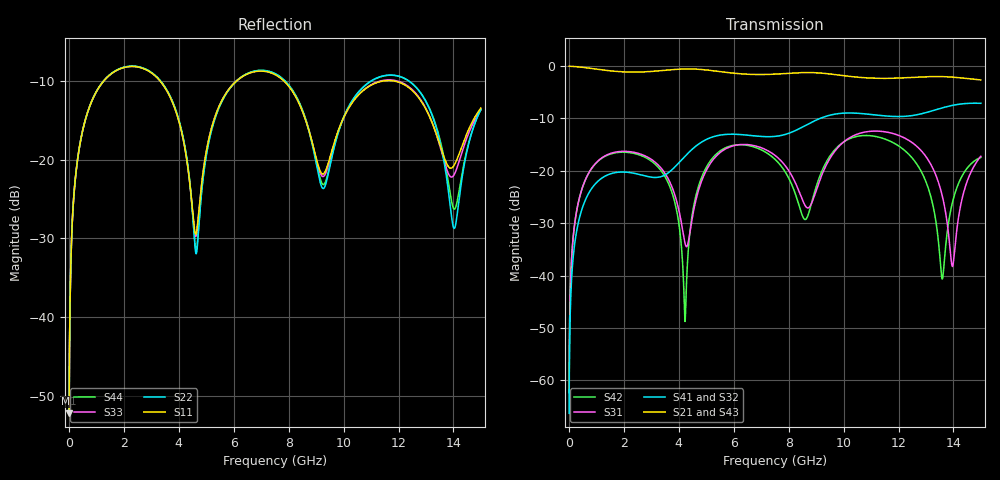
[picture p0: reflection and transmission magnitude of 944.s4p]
! Created with skrf 1.8.0 (http://scikit-rf.org).
# GHz S RI R 50.0
!freq ReS11 ImS11 ReS12 ImS12 ReS13 ImS13
! ReS14 ImS14
! ReS21 ImS21 ReS22 ImS22 ReS23 ImS23
! ReS24 ImS24
! ReS31 ImS31 ReS32 ImS32 ReS33 ImS33
! ReS34 ImS34
! ReS41 ImS41 ReS42 ImS42 ReS43 ImS43
! ReS44 ImS44
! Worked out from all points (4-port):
!   2499 points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, 5 MHz to 15 GHz, reference 50 ohm
!   strongest paths, dB at 5 MHz, 3.476 GHz, 7.19 GHz, 11.1 GHz, 15 GHz:
!     S21: 0.0, -0.8, -1.6, -2.3, -2.6
!     S43: 0.0, -0.8, -1.6, -2.3, -2.6
!     S41: -66.3, -20.8, -13.5, -9.3, -7.1
!     S32: -66.3, -20.9, -13.5, -9.3, -7.1
!     S31: -62.4, -20.3, -16.0, -12.4, -17.2
!     S42: -62.4, -20.9, -16.5, -13.4, -17.4
!   lowest |S11| = -52.3 dB at 5 MHz (marker M1), VSWR 1.00, Z = 50.2 + j0.148 ohm
!   |S11| at or under -10 dB: 3.331 GHz to 6.086 GHz (2.755 GHz wide, 58.5 % of centre); 7.841 GHz to 11.37 GHz (3.528 GHz wide, 36.7 % of centre); 11.91 GHz to end of sweep (the widest 3 of 4)
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0.005  0.00194 0.00148  0.998 -0.00377  9.78e-05 0.000751  -9.5e-05 -0.000474
       0.998 -0.00377  0.00194 0.00148  -9.5e-05 -0.000474  9.77e-05 0.000751
       9.78e-05 0.000751  -9.5e-05 -0.000474  0.00194 0.00148  0.998 -0.00377
       -9.5e-05 -0.000474  9.77e-05 0.000751  0.998 -0.00377  0.00194 0.00148
1.369321  0.284 0.1738  0.5189 -0.7462  0.1314 0.0522  -0.0905 -0.0014
          0.5189 -0.7462  0.2856 0.1726  -0.0904 -0.00152  0.1271 0.0585
          0.1314 0.0522  -0.0904 -0.00152  0.2841 0.1737  0.5188 -0.7462
          -0.0905 -0.0014  0.1271 0.0585  0.5188 -0.7462  0.2856 0.1727
4.226761  0.0604 -0.1007  -0.881 -0.3251  -0.018 -0.0093  -0.0426 0.1312
          -0.881 -0.3251  0.0534 -0.1071  -0.0443 0.1306  0.0036 0.000539
          -0.018 -0.0093  -0.0443 0.1306  0.0594 -0.1012  -0.881 -0.325
          -0.0426 0.1312  0.0036 0.000539  -0.881 -0.325  0.0543 -0.1069
5.358483  0.1313 0.1467  -0.8052 0.3908  0.0988 0.0961  0.1232 0.1766
          -0.8052 0.3908  0.1236 0.148  0.121 0.1779  0.1088 0.0944
          0.0988 0.0961  0.121 0.1779  0.1308 0.1477  -0.805 0.391
          0.1232 0.1766  0.1088 0.0944  -0.805 0.391  0.1245 0.1475
9.310129  0.0827 0.00706  0.8455 0.0991  0.00341 0.1052  0.0243 -0.3275
          0.8455 0.0991  0.0669 0.00619  0.0321 -0.3272  0.00263 0.1131
          0.00341 0.1052  0.0321 -0.3272  0.0796 0.00623  0.8455 0.0989
          0.0243 -0.3275  0.00263 0.1131  0.8455 0.0989  0.0706 0.00401
13.59316  0.1005 -0.0507  -0.7019 -0.3701  -0.0364 -0.0448  -0.1682 0.3618
          -0.7019 -0.3701  0.0638 -0.0921  -0.1827 0.3549  -0.0092 0.00109
          -0.0364 -0.0448  -0.1827 0.3549  0.092 -0.0575  -0.7024 -0.369
          -0.1682 0.3618  -0.0092 0.00109  -0.7024 -0.369  0.0737 -0.0906
15  0.1813 0.1136  -0.6528 0.3431  0.1369 -0.0165  0.2424 0.3686
    -0.6528 0.3431  0.1427 0.1542  0.2279 0.3784  0.1306 0.0308
    0.1369 -0.0165  0.2279 0.3784  0.1708 0.119  -0.6522 0.3456
    0.2424 0.3686  0.1306 0.0308  -0.6522 0.3456  0.1529 0.1438
